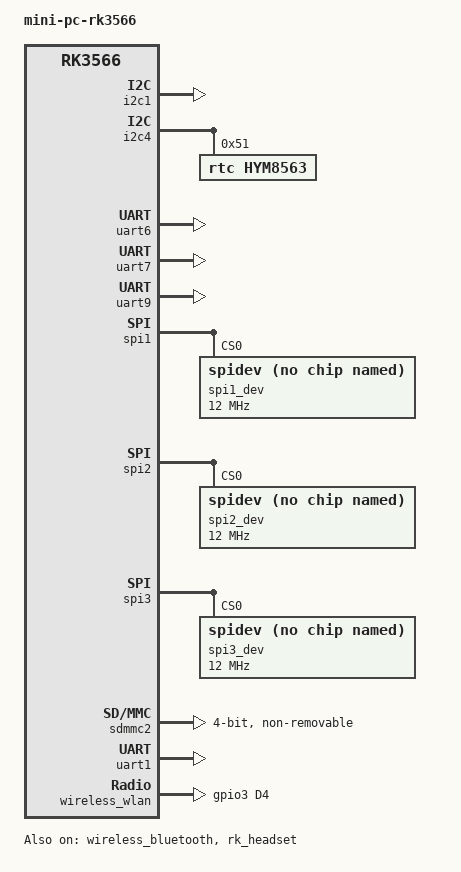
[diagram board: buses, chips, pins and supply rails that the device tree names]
// SPDX-License-Identifier: (GPL-2.0+ OR MIT)
/*
 * Copyright (c) 2020 Rockchip Electronics Co., Ltd.
 *
 */

/dts-v1/;

//rk3566-evb1-ddr4-v10
//#include "rk3566-evb1-ddr4-v10.dtsi"

#include "rk3566-evb-rpdzkj-rk809-tcs4525.dtsi"


#include "../rk3568-linux.dtsi"
/*************************camera***********************/
#include "rp-mipi-camera-gc2093-rk3566.dtsi"
/***************************************************/


/*************************adc key***********************/
#include "rp-adc-key.dtsi"
/***************************************************/

/*************************gmac***********************/
#include "rp-gmac1-m0-pro-rk3566.dtsi"
/***************************************************/


/****************** SINGLE LCD ***************/
#include "pro-rk3566-single-lcd-gpio.dtsi"

/* HDMI */
#include "rp-lcd-hdmi.dtsi"

/* MIPI0 */
//#include "rp-lcd-mipi0-5-720-1280-v2-boxTP.dtsi"
//#include "rp-lcd-mipi0-5.5-720-1280.dtsi"
//#include "rp-lcd-mipi0-5.5-720-1280-v2.dtsi"
//#include "rp-lcd-mipi0-5.5-1080-1920.dtsi"
//#include "rp-lcd-mipi0-7-1024-600.dtsi"
//#include "rp-lcd-mipi0-7-720-1280.dtsi"
//#include "rp-lcd-mipi0-7-1200-1920.dtsi"
//#include "rp-lcd-mipi0-8-800-1280.dtsi"
//#include "rp-lcd-mipi0-8-800-1280-v2.dtsi"
//#include "rp-lcd-mipi0-8-800-1280-v3.dtsi"
//#include "rp-lcd-mipi0-8-1200-1920.dtsi"
//#include "rp-lcd-mipi0-10-800-1280.dtsi"
//#include "rp-lcd-mipi0-10-800-1280-v2.dtsi"
//#include "rp-lcd-mipi0-10-800-1280-v3.dtsi"
//#include "rp-lcd-mipi0-10-1920-1200.dtsi"

/* MIPI1 */
//#include "rp-lcd-mipi1-7-1024-600.dtsi"

/* LVDS */
//#include "rp-lcd-lvds-10-1024-600.dtsi"
//#include "rp-lcd-lvds-7-1024-600-v2.dtsi"
//#include "rp-lcd-lvds-10-1280-800.dtsi"
/* EDP */
//#include "rp-lcd-edp-13-1920-1080.dtsi"






/ {
    model = "mini-pc-rk3566";
    compatible = "rpdzkj,mini-pc-rk3566", "rockchip,rk3566";

        
        rp_power{
                status = "okay";
                compatible = "rp_power";
                rp_not_deep_sleep = <1>;

//#define GPIO_FUNCTION_OUTPUT 0
//#define GPIO_FUNCTION_INPUT 1
//#define GPIO_FUNCTION_IRQ 2
//#define GPIO_FUNCTION_FLASH 3
//#define GPIO_FUNCTION_OUTPUT_CTRL 4

                led {       //system led
                        gpio_num = <&gpio3 RK_PC2 GPIO_ACTIVE_HIGH>;
                        gpio_function = <3>;
                };
                
                usb_pwr {       //usb host power and otg power
                        gpio_num = <&gpio0 RK_PA6 GPIO_ACTIVE_HIGH>;
                        gpio_function = <4>;
                };


                usb_otg_pwr {       //
                        gpio_num = <&gpio0 RK_PA5 GPIO_ACTIVE_LOW>;
                        gpio_function = <4>;
                };
};



        rp_gpio{
                status = "okay";
                compatible = "rp_gpio";
                                
                io4_c4 {       //
                        gpio_num = <&gpio4 RK_PC4 GPIO_ACTIVE_HIGH>;
                        gpio_function = <0>;
                };
    };
    
    fiq-debugger {
        compatible = "rockchip,fiq-debugger";
        rockchip,serial-id = <2>;
        rockchip,wake-irq = <0>;
        /* If enable uart uses irq instead of fiq */
        rockchip,irq-mode-enable = <1>;
        rockchip,baudrate = <115200>;  /* Only 115200 and 1500000 */
        interrupts = <GIC_SPI 252 IRQ_TYPE_LEVEL_LOW>;
        pinctrl-names = "default";
        pinctrl-0 = <&uart2m0_xfer>;
        status = "okay";
    };
    test-power {
        /** disable for use rk809-battery */
        status = "okay";
    };
};


&pmu_io_domains {
        status = "okay";
        pmuio2-supply = <&vcc3v3_pmu>;
        vccio1-supply = <&vccio_acodec>;
        vccio3-supply = <&vccio_sd>;
        vccio4-supply = <&vcc_3v3>;
        vccio5-supply = <&vcc_3v3>;
        vccio6-supply = <&vcc_1v8>;
        vccio7-supply = <&vcc_3v3>;
};


&cpu0_opp_table {

        opp-408000000 {
            opp-hz = /bits/ 64 <408000000>;
            opp-microvolt = <825000 825000 1150000>;
            opp-microvolt-L0 = <825000 825000 1150000>;
            opp-microvolt-L1 = <800000 800000 1150000>;
            opp-microvolt-L2 = <800000 800000 1150000>;
            clock-latency-ns = <40000>;
        };
        opp-600000000 {
            opp-hz = /bits/ 64 <600000000>;
            opp-microvolt = <850000 850000 1150000>;
            opp-microvolt-L0 = <850000 850000 1150000>;
            opp-microvolt-L1 = <825000 825000 1150000>;
            opp-microvolt-L2 = <825000 825000 1150000>;
            clock-latency-ns = <40000>;
        };
        opp-816000000 {
            opp-hz = /bits/ 64 <816000000>;
            opp-microvolt = <900000 900000 1150000>;
            opp-microvolt-L0 = <900000 900000 1150000>;
            opp-microvolt-L1 = <875000 875000 1150000>;
            opp-microvolt-L2 = <850000 850000 1150000>;
            clock-latency-ns = <40000>;
            opp-suspend;
        };
        opp-1104000000 {
            opp-hz = /bits/ 64 <1104000000>;
            opp-microvolt = <950000 950000 1150000>;
            opp-microvolt-L0 = <950000 950000 1150000>;
            opp-microvolt-L1 = <925000 925000 1150000>;
            opp-microvolt-L2 = <900000 900000 1150000>;
            clock-latency-ns = <40000>;
        };
        opp-1416000000 {
            opp-hz = /bits/ 64 <1416000000>;
            opp-microvolt = <1000000 1000000 1150000>;
            opp-microvolt-L0 = <1000000 1000000 1150000>;
            opp-microvolt-L1 = <975000 975000 1150000>;
            opp-microvolt-L2 = <950000 950000 1150000>;
            clock-latency-ns = <40000>;
        };
        opp-1608000000 {
            opp-hz = /bits/ 64 <1608000000>;
            opp-microvolt = <1050000 1050000 1150000>;
            opp-microvolt-L0 = <1050000 1050000 1150000>;
            opp-microvolt-L1 = <1025000 1025000 1150000>;
            opp-microvolt-L2 = <1025000 1025000 1150000>;
            clock-latency-ns = <40000>;
        };

        opp-1800000000 {
            opp-hz = /bits/ 64 <1800000000>;
            opp-microvolt = <1100000 1100000 1150000>;
            opp-microvolt-L0 = <1100000 1100000 1150000>;
            opp-microvolt-L1 = <1075000 1075000 1150000>;
            opp-microvolt-L2 = <1075000 1075000 1150000>;
            clock-latency-ns = <40000>;
        };


};


&i2c1 {
    status = "okay";
};

&i2c4 {
    status = "okay";
    pinctrl-names = "default";
    pinctrl-0 = <&i2c4m1_xfer>;

        rtc@51 {
                status = "okay";
                compatible = "rtc,hym8563";
                reg = <0x51>;
        };
};


&uart6 {
        status = "okay";
        pinctrl-names = "default";
        pinctrl-0 = <&uart6m0_xfer>;
};

&uart7 {
        status = "okay";
        pinctrl-names = "default";
        pinctrl-0 = <&uart7m0_xfer>;
};

&uart9 {
        status = "okay";
        pinctrl-names = "default";
        pinctrl-0 = <&uart9m0_xfer>;
};

&spi1 {
    status = "okay";

    spi1_dev@0 {
        compatible = "rockchip,spidev";
        reg = <0>;
        spi-max-frequency = <12000000>;
        spi-lsb-first;
    };

};

&spi2 {
        status = "okay";

    spi2_dev@0 {
        compatible = "rockchip,spidev";
        reg = <0>;
        spi-max-frequency = <12000000>;
        spi-lsb-first;
    };

};

&spi3 {
        status = "okay";
        
                pinctrl-names = "default", "high_speed";
                pinctrl-0 = <&spi3m1_cs0 /*&spi3m1_cs1*/ &spi3m1_pins>;
                pinctrl-1 = <&spi3m1_cs0 /*&spi3m1_cs1*/ &spi3m1_pins_hs>;

        spi3_dev@0 {
            compatible = "rockchip,spidev";
            reg = <0>;
            spi-max-frequency = <12000000>;
            spi-lsb-first;
    };

};

&edp {
    /** delete hdp gpio that pro3566 donot use */
    /delete-property/ hpd-gpios;
};

&dmc {
    status = "disabled";
};

&dfi {
    status = "disabled";
};



&sdmmc2 {
    max-frequency = <150000000>;
    supports-sdio;
    bus-width = <4>;
    disable-wp;
    cap-sd-highspeed;
    cap-sdio-irq;
    keep-power-in-suspend;
    mmc-pwrseq = <&sdio_pwrseq>;
    non-removable;
    pinctrl-names = "default";
    pinctrl-0 = <&sdmmc2m0_bus4 &sdmmc2m0_cmd &sdmmc2m0_clk>;
    sd-uhs-sdr104;
    status = "okay";
};

&uart1 {
    status = "okay";
    pinctrl-names = "default";
    pinctrl-0 = <&uart1m1_xfer &uart1m1_ctsn>;
};


&wireless_bluetooth {
    uart_rts_gpios = <&gpio4 RK_PB6 GPIO_ACTIVE_LOW>;
    pinctrl-names = "default", "rts_gpio";
    pinctrl-0 = <&uart1m1_rtsn>;
    pinctrl-1 = <&uart1_gpios>;
    BT,reset_gpio    = <&gpio4 RK_PA5 GPIO_ACTIVE_HIGH>;
    BT,wake_gpio     = <&gpio4 RK_PA6 GPIO_ACTIVE_HIGH>;
    BT,wake_host_irq = <&gpio4 RK_PB1 GPIO_ACTIVE_HIGH>;
    status = "okay";
};

&wireless_wlan {
    pinctrl-names = "default";
    pinctrl-0 = <&wifi_host_wake_irq>;
    WIFI,host_wake_irq = <&gpio3 RK_PD4 GPIO_ACTIVE_HIGH>;
};


        
&rk_headset {
        status = "okay";
        headset_force_flag = <1>;
    };



&pinctrl {  
    
    wireless-wlan {
        wifi_host_wake_irq: wifi-host-wake-irq {
            rockchip,pins = <3 RK_PD4 RK_FUNC_GPIO &pcfg_pull_down>;
        };
    };

    wireless-bluetooth {
        uart1_gpios: uart1-gpios {
            rockchip,pins = <4 RK_PB6 RK_FUNC_GPIO &pcfg_pull_none>;
        };
    };
};
